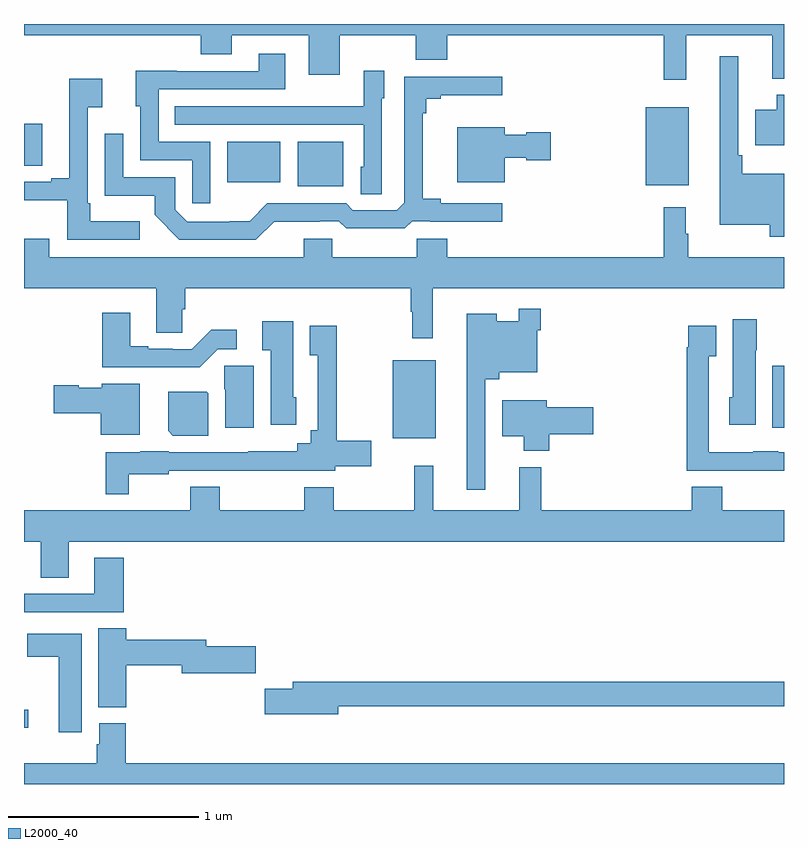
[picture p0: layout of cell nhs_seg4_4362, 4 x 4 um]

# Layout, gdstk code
import gdstk
lib = gdstk.Library(unit=1e-6, precision=1e-09)
def R(c, l, rs):  # rectangles x0, y0, x1, y1
    for r in rs: c.add(gdstk.rectangle(r[:2], r[2:], *l))
def P(c, l, *ps):  # polygons
    for p in ps: c.add(gdstk.Polygon(p, *l))
L2000_40 = (2000, 40)

nhs_seg4_4362 = lib.new_cell('nhs_seg4_4362')
R(nhs_seg4_4362, L2000_40, [(345,773.195,345.022,773.292), (346.94,774.719,347.167,775.129), (348.938,774.774,349,775.101), (346.442,776.045,346.681,776.281), (348.272,776.051,348.499,776.461), (346.07,776.066,346.348,776.281), (345,776.155,345.097,776.374)])
P(nhs_seg4_4362, L2000_40, [(348.485,776.84),(348.938,776.84),(348.938,776.612),(349,776.612),(349,776.9),(345,776.9),(345,776.84),(345.929,776.84),(345.929,776.741),(346.093,776.741),(346.093,776.84),(346.499,776.84),(346.499,776.634),(346.663,776.634),(346.663,776.84),(347.063,776.84),(347.063,776.712),(347.227,776.712),(347.227,776.84),(348.367,776.84),(348.367,776.607),(348.485,776.607)],
  [(345.981,776.28),(345.708,776.28),(345.708,776.556),(346.375,776.556),(346.375,776.743),(346.235,776.743),(346.235,776.652),(345.805,776.652),(345.805,776.654),(345.587,776.654),(345.587,776.466),(345.612,776.466),(345.612,776.184),(345.885,776.184),(345.885,775.956),(345.981,775.956)],
  [(349,776.113),(348.779,776.113),(348.779,776.209),(348.759,776.209),(348.759,776.731),(348.662,776.731),(348.662,775.844),(348.924,775.844),(348.924,775.779),(349,775.779)],
  [(346.884,776.508),(346.897,776.508),(346.897,776.653),(346.788,776.653),(346.788,776.467),(346.471,776.467),(346.471,776.466),(345.793,776.466),(345.793,776.37),(346.788,776.37),(346.788,776.148),(346.772,776.148),(346.772,776.005),(346.884,776.005)],
  [(346.316,775.859),(346.556,775.859),(346.556,775.863),(346.656,775.863),(346.696,775.824),(347.003,775.824),(347.043,775.863),(347.137,775.863),(347.137,775.859),(347.518,775.859),(347.518,775.956),(347.194,775.956),(347.194,775.979),(347.099,775.979),(347.099,776.429),(347.117,776.429),(347.117,776.506),(347.194,776.506),(347.194,776.525),(347.518,776.525),(347.518,776.622),(347.001,776.622),(347.001,775.959),(346.962,775.92),(346.731,775.92),(346.695,775.956),(346.281,775.956),(346.187,775.862),(346.082,775.862),(346.082,775.86),(345.858,775.86),(345.795,775.923),(345.795,776.094),(345.522,776.094),(345.522,776.323),(345.426,776.323),(345.426,775.997),(345.688,775.997),(345.688,775.895),(345.818,775.764),(346.221,775.764)],
  [(345.61,775.861),(345.349,775.861),(345.349,775.957),(345.336,775.957),(345.336,776.462),(345.412,776.462),(345.412,776.611),(345.239,776.611),(345.239,776.089),(345.143,776.089),(345.143,776.07),(345,776.07),(345,775.973),(345.228,775.973),(345.228,775.764),(345.61,775.764)],
  [(349,776.527),(348.962,776.527),(348.962,776.449),(348.848,776.449),(348.848,776.261),(349,776.261)],
  [(347.53,776.195),(347.643,776.195),(347.643,776.183),(347.773,776.183),(347.773,776.33),(347.643,776.33),(347.643,776.317),(347.53,776.317),(347.53,776.356),(347.279,776.356),(347.279,776.066),(347.53,776.066)],
  [(347.152,775.508),(349,775.508),(349,775.672),(348.496,775.672),(348.496,775.796),(348.484,775.796),(348.484,775.936),(348.367,775.936),(348.367,775.672),(347.228,775.672),(347.228,775.77),(347.068,775.77),(347.068,775.672),(346.623,775.672),(346.623,775.77),(346.472,775.77),(346.472,775.672),(345.133,775.672),(345.133,775.771),(345,775.771),(345,775.508),(345.695,775.508),(345.695,775.276),(345.834,775.276),(345.834,775.398),(345.848,775.398),(345.848,775.508),(347.035,775.508),(347.035,775.385),(347.043,775.385),(347.043,775.245),(347.152,775.245)],
  [(347.427,775.031),(347.501,775.031),(347.501,775.067),(347.7,775.067),(347.7,775.289),(347.72,775.289),(347.72,775.402),(347.604,775.402),(347.604,775.336),(347.488,775.336),(347.488,775.375),(347.33,775.375),(347.33,774.45),(347.427,774.45)],
  [(346.02,775.188),(346.12,775.188),(346.12,775.291),(345.985,775.291),(345.882,775.188),(345.782,775.188),(345.782,775.191),(345.655,775.191),(345.655,775.204),(345.559,775.204),(345.559,775.381),(345.412,775.381),(345.412,775.094),(345.925,775.094)],
  [(348.85,775.182),(348.856,775.182),(348.856,775.345),(348.731,775.345),(348.731,774.936),(348.713,774.936),(348.713,774.792),(348.85,774.792)],
  [(346.433,774.936),(346.417,774.936),(346.417,775.336),(346.253,775.336),(346.253,775.182),(346.298,775.182),(346.298,774.792),(346.433,774.792)],
  [(345.55,774.53),(345.762,774.53),(345.762,774.549),(346.179,774.549),(346.179,774.548),(346.411,774.548),(346.411,774.549),(346.638,774.549),(346.638,774.572),(346.828,774.572),(346.828,774.707),(346.646,774.707),(346.646,775.312),(346.505,775.312),(346.505,775.156),(346.545,775.156),(346.545,774.762),(346.509,774.762),(346.509,774.694),(346.439,774.694),(346.439,774.652),(346.179,774.652),(346.179,774.645),(345.762,774.645),(345.762,774.652),(345.612,774.652),(345.612,774.646),(345.429,774.646),(345.429,774.425),(345.55,774.425)],
  [(348.969,774.549),(349,774.549),(349,774.645),(348.969,774.645),(348.969,774.652),(348.837,774.652),(348.837,774.646),(348.603,774.646),(348.603,775.151),(348.643,775.151),(348.643,775.312),(348.495,775.312),(348.495,775.199),(348.487,775.199),(348.487,774.549),(348.737,774.549),(348.737,774.548),(348.969,774.548)],
  [(346.21,775.101),(346.054,775.101),(346.054,774.978),(346.058,774.978),(346.058,774.774),(346.21,774.774)],
  [(345.61,775.006),(345.408,775.006),(345.408,774.985),(345.288,774.985),(345.288,774.998),(345.156,774.998),(345.156,774.851),(345.404,774.851),(345.404,774.737),(345.61,774.737)],
  [(345.97,774.956),(345.962,774.964),(345.758,774.964),(345.758,774.76),(345.784,774.734),(345.97,774.734)],
  [(347.765,774.742),(347.995,774.742),(347.995,774.884),(347.752,774.884),(347.752,774.919),(347.516,774.919),(347.516,774.731),(347.63,774.731),(347.63,774.653),(347.765,774.653)],
  [(345.235,774.176),(349,774.176),(349,774.34),(348.675,774.34),(348.675,774.464),(348.515,774.464),(348.515,774.34),(347.723,774.34),(347.723,774.568),(347.606,774.568),(347.606,774.34),(347.153,774.34),(347.153,774.574),(347.053,774.574),(347.053,774.34),(346.629,774.34),(346.629,774.463),(346.474,774.463),(346.474,774.34),(346.029,774.34),(346.029,774.464),(345.874,774.464),(345.874,774.34),(345,774.34),(345,774.176),(345.088,774.176),(345.088,773.986),(345.235,773.986)],
  [(345.524,774.091),(345.371,774.091),(345.371,773.901),(345,773.901),(345,773.805),(345.524,773.805)],
  [(345.539,773.524),(345.83,773.524),(345.83,773.482),(346.219,773.482),(346.219,773.624),(345.958,773.624),(345.958,773.66),(345.539,773.66),(345.539,773.72),(345.392,773.72),(345.392,773.305),(345.539,773.305)],
  [(345.304,773.692),(345.017,773.692),(345.017,773.57),(345.182,773.57),(345.182,773.172),(345.304,773.172)],
  [(346.654,773.31),(349,773.31),(349,773.438),(346.415,773.438),(346.415,773.402),(346.266,773.402),(346.266,773.267),(346.654,773.267)],
  [(349,773.008),(345.536,773.008),(345.536,773.22),(345.395,773.22),(345.395,773.109),(345.383,773.109),(345.383,773.008),(345,773.008),(345,772.9),(349,772.9)])

lib.write_gds('nhs_seg4_4362.gds')
